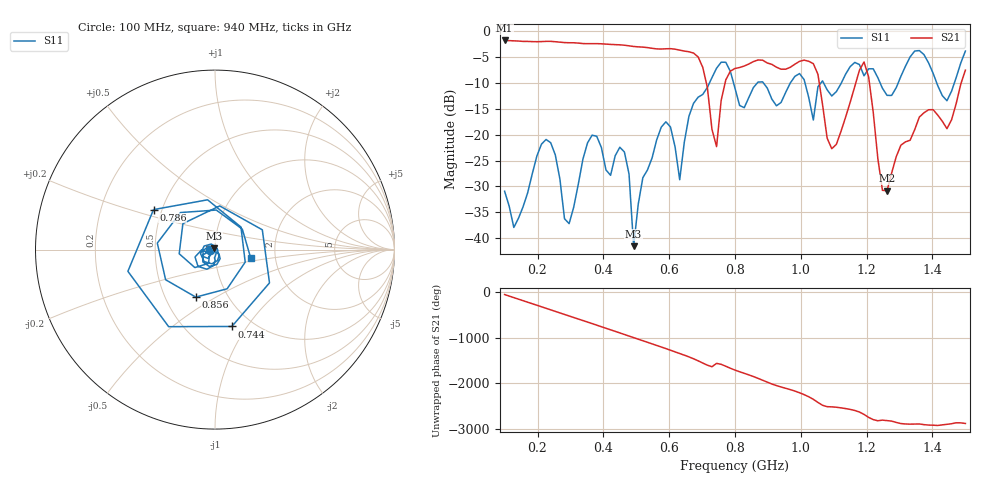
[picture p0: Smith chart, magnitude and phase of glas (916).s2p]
! NanoVNA-App
! Date: 2025-09-25 16:02:36
! Start: 100MHz Stop: 1,5GHz Points: 101
! S-Parameter data: F S11 S21 S12 S22
# Hz S RI R 50
!  Frequency  S11_Real  S11_Imag  S21_Real  S21_Imag  S12_Real  S12_Imag  S22_Real  S22_Imag
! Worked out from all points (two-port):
!   101 points, 100 MHz to 1.5 GHz, reference 50 ohm
!   highest |S21| = -1.80 dB at 100 MHz (marker M1); lowest = -30.8 dB at 1.262 GHz (marker M2)
!   |S21| within 3 dB of the highest: start of sweep to 684.6 MHz
!   lowest |S11| = -41.5 dB at 492 MHz (marker M3), VSWR 1.02, Z = 49.5 + j0.66 ohm
!   |S11| at or under -10 dB: start of sweep to 722.5 MHz; 795.5 MHz to 867.8 MHz (72.25 MHz wide, 8.69 % of centre); 886.3 MHz to 968.1 MHz (81.82 MHz wide, 8.82 % of centre) (the widest 3 of 7)
!   S12 and S22 are empty: the file has one direction only
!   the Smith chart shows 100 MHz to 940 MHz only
!   S11 on the Smith chart (normalised r, x): 100 MHz: 0.94, -0.01; 744 MHz: 0.80, -0.85; 786 MHz: 0.45, +0.24; 856 MHz: 0.71, -0.41; 940 MHz: 1.49, -0.15
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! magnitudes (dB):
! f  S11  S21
! 100 MHz  -30.9  -1.8
! 128 MHz  -37.9  -1.9
! 226 MHz  -20.9  -2.0
! 296 MHz  -37.2  -2.2
! 338 MHz  -24.7  -2.4
! 464 MHz  -23.3  -2.7
! 492 MHz  -41.5  -3.0
! 576 MHz  -18.5  -3.5
! 632 MHz  -28.7  -3.7
! 702 MHz  -12.2  -7.0
! 744 MHz  -7.2  -22.3
! 786 MHz  -7.8  -7.7
! 800 MHz  -11.0  -7.2
! 856 MHz  -10.9  -5.9
! 940 MHz  -13.8  -7.4
! 996 MHz  -8.2  -5.8
! 1.038 GHz  -17.2  -6.3
! 1.094 GHz  -12.5  -22.7
! 1.192 GHz  -8.6  -6.0
! 1.262 GHz  -12.4  -30.8
! 1.276 GHz  -12.4  -27.4
! 1.5 GHz  -3.8  -7.5
